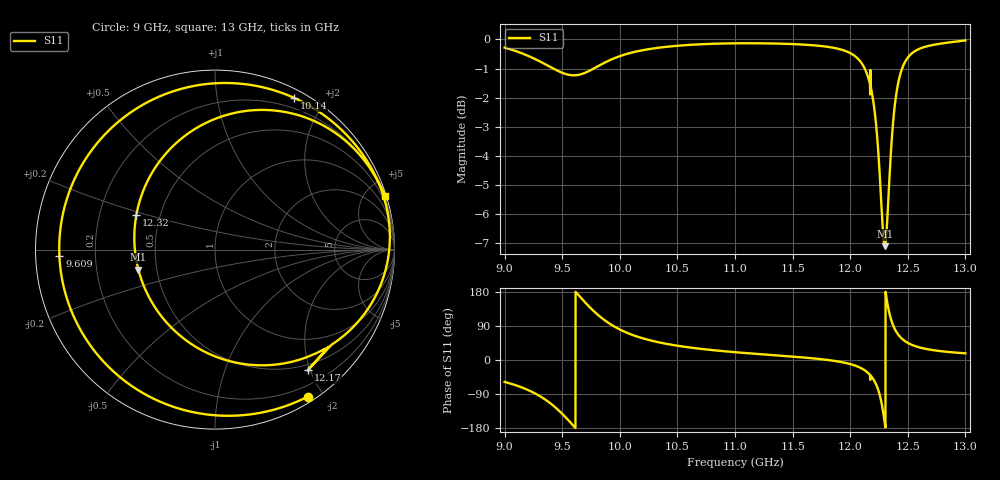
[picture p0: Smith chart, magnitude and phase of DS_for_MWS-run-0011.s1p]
! TOUCHSTONE file generated by CST DESIGN STUDIO
! Date and time: Tue Feb  4 16:20:50 2025
! Project name: C:\Work\MatlabApps\UnitCellOptimizationMatlab\CST\unitcell.cst
! Tree item: Tasks\Sweep1\SPara1\S-Parameters
! Header version: 2024
! Port assignment regex: !\s*Touchstone port\s*([0-9]+)\s*=\s*(CST MWS port|CST DES external port|CST DES block port)\s*(.+)\s* \(\"(.*)\"\)(\s*mode\s*([0-9]+))?.*
! Touchstone port assignment:
! Touchstone port 1 = CST DES external port 1 ("")
# GHz S MA R 50
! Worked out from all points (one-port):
!   4001 points, 9 GHz to 13 GHz, reference 50 ohm
!   lowest |S11| = -7.1 dB at 12.3 GHz (marker M1), VSWR 2.58, Z = 19.7 - j5.44 ohm
!   |S11| at or under -10 dB: nowhere
!   S11 on the Smith chart (normalised r, x): 9 GHz: 0.07, -1.81; 9.609 GHz: 0.07, -0.02; 10.14 GHz: 0.09, +1.65; 12.17 GHz: 0.41, -1.96; 12.32 GHz: 0.37, +0.18; 13 GHz: 0.09, +6.47
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9  0.9682 -57.8
9.163  0.9443 -74.0
9.314  0.9149 -96.8
9.412  0.8934 -117.8
9.5  0.8763 -142.0
9.609  0.8677 -177.6
9.693  0.8754 153.9
9.798  0.8966 122.3
9.889  0.9164 100.5
10  0.936 80.5
10.144  0.9534 62.5
10.5  0.9753 37.7
11  0.9848 20.6
11.5  0.9818 9.0
12  0.9474 -10.7
12.107  0.9053 -23.6
12.174  0.8484 -52.5
12.21  0.7589 -55.3
12.248  0.6234 -83.3
12.273  0.5102 -114.5
12.3  0.4412 -165.4
12.319  0.4785 156.4
12.351  0.6285 110.7
12.383  0.7575 84.2
12.436  0.8731 60.1
12.5  0.9305 45.2
12.663  0.9729 28.9
13  0.996 17.6
